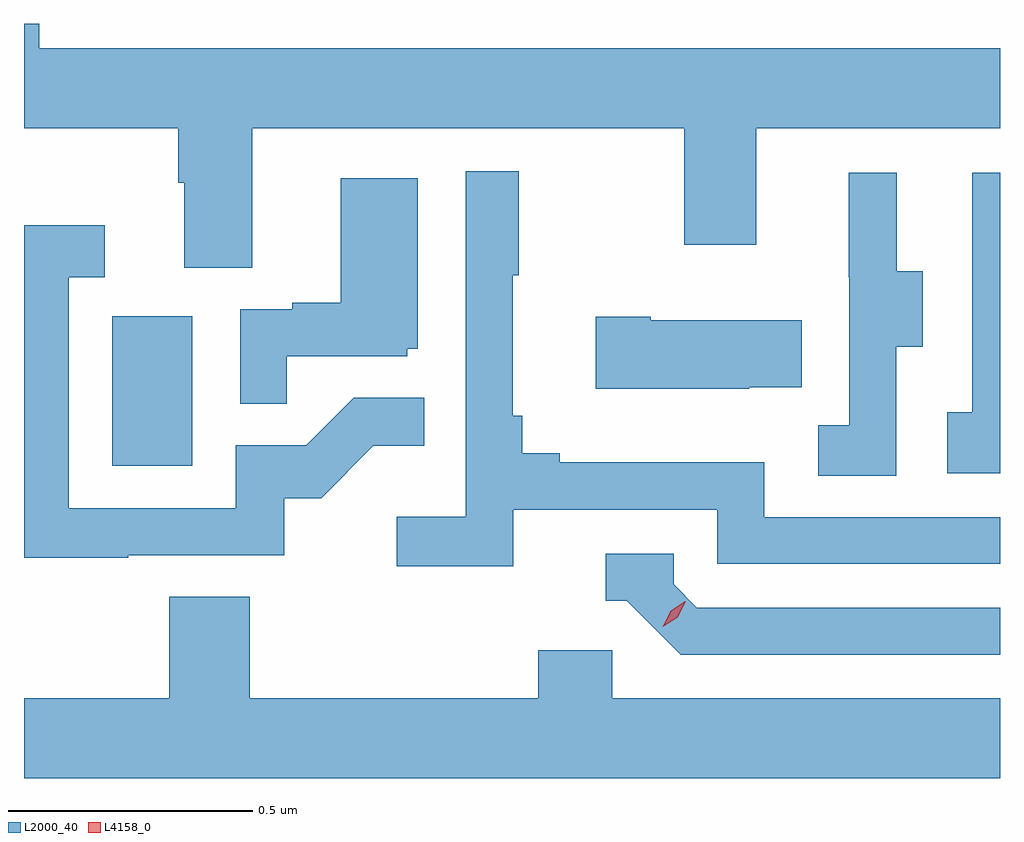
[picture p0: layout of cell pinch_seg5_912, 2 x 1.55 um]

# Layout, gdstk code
import gdstk
lib = gdstk.Library(unit=1e-6, precision=1e-09)
def R(c, l, rs):  # rectangles x0, y0, x1, y1
    for r in rs: c.add(gdstk.rectangle(r[:2], r[2:], *l))
def P(c, l, *ps):  # polygons
    for p in ps: c.add(gdstk.Polygon(p, *l))
L2000_40 = (2000, 40)
L4158_0 = (4158, 0)

pinch_seg5_912 = lib.new_cell('pinch_seg5_912')
R(pinch_seg5_912, L2000_40, [(864.62,882.708,864.784,883.015)])
P(pinch_seg5_912, L2000_40, [(864.907,883.4),(865.792,883.4),(865.792,883.161),(865.939,883.161),(865.939,883.4),(866.439,883.4),(866.439,883.564),(864.47,883.564),(864.47,883.614),(864.439,883.614),(864.439,883.4),(864.755,883.4),(864.755,883.288),(864.767,883.288),(864.767,883.114),(864.907,883.114)],
  [(865.442,882.618),(865.86,882.618),(865.86,882.507),(866.439,882.507),(866.439,882.603),(865.956,882.603),(865.956,882.715),(865.537,882.715),(865.537,882.734),(865.46,882.734),(865.46,882.811),(865.441,882.811),(865.441,883.099),(865.453,883.099),(865.453,883.312),(865.344,883.312),(865.344,882.604),(865.203,882.604),(865.203,882.502),(865.442,882.502)],
  [(866.226,882.952),(866.281,882.952),(866.281,883.107),(866.227,883.107),(866.227,883.309),(866.129,883.309),(866.129,883.095),(866.13,883.095),(866.13,882.791),(866.067,882.791),(866.067,882.688),(866.226,882.688)],
  [(866.439,883.309),(866.382,883.309),(866.382,882.818),(866.331,882.818),(866.331,882.693),(866.439,882.693)],
  [(864.977,882.933),(865.224,882.933),(865.224,882.948),(865.246,882.948),(865.246,883.297),(865.088,883.297),(865.088,883.042),(864.989,883.042),(864.989,883.029),(864.882,883.029),(864.882,882.835),(864.977,882.835)],
  [(864.653,882.525),(864.972,882.525),(864.972,882.642),(865.048,882.642),(865.155,882.749),(865.259,882.749),(865.259,882.848),(865.115,882.848),(865.017,882.75),(864.873,882.75),(864.873,882.621),(864.531,882.621),(864.531,883.095),(864.604,883.095),(864.604,883.201),(864.439,883.201),(864.439,882.52),(864.653,882.52)],
  [(865.925,882.869),(866.033,882.869),(866.033,883.006),(865.723,883.006),(865.723,883.014),(865.611,883.014),(865.611,882.866),(865.925,882.866)],
  [(866.439,882.417),(865.818,882.417),(865.77,882.465),(865.77,882.528),(865.631,882.528),(865.631,882.432),(865.674,882.432),(865.785,882.321),(866.439,882.321)],
  [(866.439,882.232),(865.644,882.232),(865.644,882.33),(865.493,882.33),(865.493,882.232),(864.902,882.232),(864.902,882.44),(864.737,882.44),(864.737,882.232),(864.439,882.232),(864.439,882.068),(866.439,882.068)])
P(pinch_seg5_912, L4158_0, [(865.748,882.378),(865.748,882.378),(865.764,882.411),(865.794,882.431),(865.794,882.431),(865.794,882.43),(865.779,882.398),(865.748,882.378)])

lib.write_gds('pinch_seg5_912.gds')
